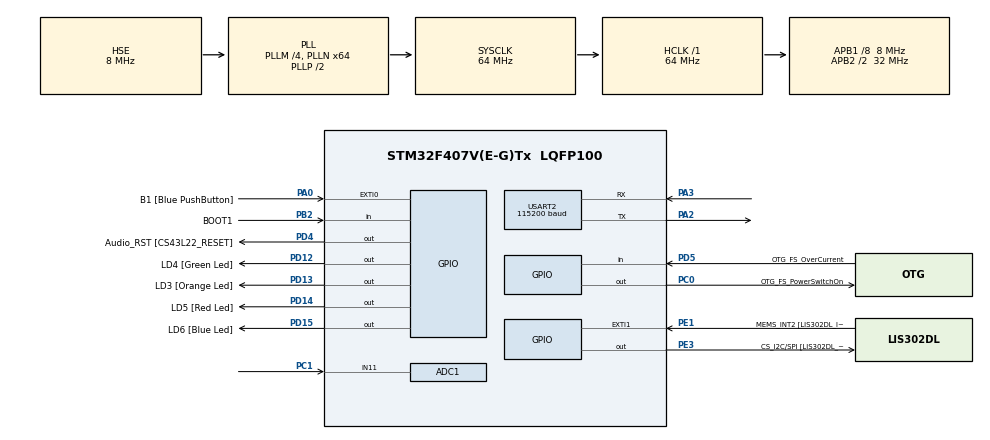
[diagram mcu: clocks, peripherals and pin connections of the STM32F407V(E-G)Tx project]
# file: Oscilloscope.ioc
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ADC1.Channel-0\#ChannelRegularConversion=ADC_CHANNEL_11
ADC1.ExternalTrigConv=ADC_EXTERNALTRIGCONV_T2_TRGO
ADC1.NbrOfConversionFlag=1
ADC1.Rank-0\#ChannelRegularConversion=1
ADC1.Resolution=ADC_RESOLUTION_8B
ADC1.SamplingTime-0\#ChannelRegularConversion=ADC_SAMPLETIME_28CYCLES
ADC1.master=1
Mcu.Family=STM32F4
Mcu.Name=STM32F407V(E-G)Tx
Mcu.Package=LQFP100
NVIC.ADC_IRQn=true\:0\:1\:false\:true\:true\:1\:true\:true
NVIC.PriorityGroup=NVIC_PRIORITYGROUP_2
NVIC.USART2_IRQn=true\:0\:0\:false\:true\:true\:2\:true\:true
PA0-WKUP.GPIO_Label=B1 [Blue PushButton]
PA0-WKUP.GPIO_ModeDefaultEXTI=GPIO_MODE_EVT_RISING
PA0-WKUP.GPIO_PuPd=GPIO_NOPULL
PA0-WKUP.Signal=GPXTI0
PA10.GPIO_Label=OTG_FS_ID
PA10.GPIO_Mode=GPIO_MODE_AF_PP
PA10.GPIO_PuPd=GPIO_NOPULL
PA10.GPIO_Speed=GPIO_SPEED_FREQ_LOW
PA10.Signal=USB_OTG_FS_ID
PA11.GPIO_Label=OTG_FS_DM
PA11.GPIO_Mode=GPIO_MODE_AF_PP
PA11.GPIO_PuPd=GPIO_NOPULL
PA11.GPIO_Speed=GPIO_SPEED_FREQ_LOW
PA11.Signal=USB_OTG_FS_DM
PA12.GPIO_Label=OTG_FS_DP
PA12.GPIO_Mode=GPIO_MODE_AF_PP
PA12.GPIO_PuPd=GPIO_NOPULL
PA12.GPIO_Speed=GPIO_SPEED_FREQ_LOW
PA12.Signal=USB_OTG_FS_DP
PA13.GPIO_Label=SWDIO
PA13.Mode=Serial_Wire
PA13.Signal=SYS_JTMS-SWDIO
PA14.GPIO_Label=SWCLK
PA14.Mode=Serial_Wire
PA14.Signal=SYS_JTCK-SWCLK
PA2.Mode=Asynchronous
PA2.Signal=USART2_TX
PA3.Mode=Asynchronous
PA3.Signal=USART2_RX
PA4.GPIO_Label=I2S3_WS [CS43L22_LRCK]
PA4.GPIO_Mode=GPIO_MODE_AF_PP
PA4.GPIO_PuPd=GPIO_NOPULL
PA4.GPIO_Speed=GPIO_SPEED_FREQ_LOW
PA4.Signal=I2S3_WS
PA5.GPIO_Label=SPI1_SCK [LIS302DL_SCL/SPC]
PA5.GPIO_Mode=GPIO_MODE_AF_PP
PA5.GPIO_PuPd=GPIO_NOPULL
PA5.GPIO_Speed=GPIO_SPEED_FREQ_LOW
PA5.Signal=SPI1_SCK
PA6.GPIO_Label=SPI1_MISO [LIS302DL_SDO]
PA6.GPIO_Mode=GPIO_MODE_AF_PP
PA6.GPIO_PuPd=GPIO_NOPULL
PA6.GPIO_Speed=GPIO_SPEED_FREQ_LOW
PA6.Signal=SPI1_MISO
PA7.GPIO_Label=SPI1_MOSI [LIS302DL_SDA/SDI/SDO]
PA7.GPIO_Mode=GPIO_MODE_AF_PP
PA7.GPIO_PuPd=GPIO_NOPULL
PA7.GPIO_Speed=GPIO_SPEED_FREQ_LOW
PA7.Signal=SPI1_MOSI
PA9.GPIO_Label=VBUS_FS
PA9.GPIO_Mode=GPIO_MODE_INPUT
PA9.GPIO_PuPd=GPIO_NOPULL
PA9.Signal=USB_OTG_FS_VBUS
PB10.GPIO_Label=CLK_IN [MP45DT02_CLK]
PB10.GPIO_Mode=GPIO_MODE_AF_PP
PB10.GPIO_PuPd=GPIO_NOPULL
PB10.GPIO_Speed=GPIO_SPEED_FREQ_LOW
PB10.Signal=I2S2_CK
PB2.GPIO_Label=BOOT1
PB2.GPIO_Mode=GPIO_MODE_INPUT
PB2.GPIO_PuPd=GPIO_NOPULL
PB2.Signal=GPIO_Input
PB3.GPIO_Label=SWO
PB3.Signal=SYS_JTDO-SWO
PB6.GPIO_Label=Audio_SCL [CS43L22_SCL]
PB6.GPIO_Mode=GPIO_MODE_AF_OD
PB6.GPIO_PuPd=GPIO_NOPULL
PB6.GPIO_Speed=GPIO_SPEED_FREQ_LOW
PB6.Signal=I2C1_SCL
PB9.GPIO_Label=Audio_SDA [CS43L22_SDA]
PB9.GPIO_Mode=GPIO_MODE_AF_OD
PB9.GPIO_PuPd=GPIO_NOPULL
PB9.GPIO_Speed=GPIO_SPEED_FREQ_LOW
PB9.Signal=I2C1_SDA
PC0.GPIO_Label=OTG_FS_PowerSwitchOn
PC0.GPIO_PuPd=GPIO_NOPULL
PC0.GPIO_Speed=GPIO_SPEED_FREQ_LOW
PC0.PinState=GPIO_PIN_SET
PC0.Signal=GPIO_Output
PC1.Signal=ADCx_IN11
PC10.GPIO_Label=I2S3_SCK [CS43L22_SCLK]
PC10.GPIO_Mode=GPIO_MODE_AF_PP
PC10.GPIO_PuPd=GPIO_NOPULL
PC10.GPIO_Speed=GPIO_SPEED_FREQ_LOW
PC10.Signal=I2S3_CK
PC12.GPIO_Label=I2S3_SD [CS43L22_SDIN]
PC12.GPIO_Mode=GPIO_MODE_AF_PP
PC12.GPIO_PuPd=GPIO_NOPULL
PC12.GPIO_Speed=GPIO_SPEED_FREQ_LOW
PC12.Signal=I2S3_SD
PC14-OSC32_IN.GPIO_Label=PC14-OSC32_IN
PC14-OSC32_IN.Mode=LSE-External-Oscillator
PC14-OSC32_IN.Signal=RCC_OSC32_IN
PC15-OSC32_OUT.GPIO_Label=PC15-OSC32_OUT
PC15-OSC32_OUT.Mode=LSE-External-Oscillator
PC15-OSC32_OUT.Signal=RCC_OSC32_OUT
PC3.GPIO_Label=PDM_OUT [MP45DT02_DOUT]
PC3.GPIO_Mode=GPIO_MODE_AF_PP
PC3.GPIO_PuPd=GPIO_NOPULL
PC3.GPIO_Speed=GPIO_SPEED_FREQ_LOW
PC3.Signal=I2S2_SD
PC7.GPIO_Label=I2S3_MCK [CS43L22_MCLK]
PC7.GPIO_Mode=GPIO_MODE_AF_PP
PC7.GPIO_PuPd=GPIO_NOPULL
PC7.GPIO_Speed=GPIO_SPEED_FREQ_LOW
PC7.Signal=I2S3_MCK
PD12.GPIO_Label=LD4 [Green Led]
PD12.GPIO_PuPd=GPIO_NOPULL
PD12.GPIO_Speed=GPIO_SPEED_FREQ_LOW
PD12.Signal=GPIO_Output
PD13.GPIO_Label=LD3 [Orange Led]
PD13.GPIO_PuPd=GPIO_NOPULL
PD13.GPIO_Speed=GPIO_SPEED_FREQ_LOW
PD13.Signal=GPIO_Output
PD14.GPIO_Label=LD5 [Red Led]
PD14.GPIO_PuPd=GPIO_NOPULL
PD14.GPIO_Speed=GPIO_SPEED_FREQ_LOW
PD14.Signal=GPIO_Output
PD15.GPIO_Label=LD6 [Blue Led]
PD15.GPIO_PuPd=GPIO_NOPULL
PD15.GPIO_Speed=GPIO_SPEED_FREQ_LOW
PD15.Signal=GPIO_Output
PD4.GPIO_Label=Audio_RST [CS43L22_RESET]
PD4.GPIO_PuPd=GPIO_NOPULL
PD4.GPIO_Speed=GPIO_SPEED_FREQ_LOW
PD4.Signal=GPIO_Output
PD5.GPIO_Label=OTG_FS_OverCurrent
PD5.GPIO_Mode=GPIO_MODE_INPUT
PD5.GPIO_PuPd=GPIO_NOPULL
PD5.Signal=GPIO_Input
PE1.GPIO_Label=MEMS_INT2 [LIS302DL_INT2]
PE1.GPIO_ModeDefaultEXTI=GPIO_MODE_EVT_RISING
PE1.GPIO_PuPd=GPIO_NOPULL
PE1.Signal=GPXTI1
PE3.GPIO_Label=CS_I2C/SPI [LIS302DL_CS_I2C/SPI]
PE3.GPIO_PuPd=GPIO_NOPULL
PE3.GPIO_Speed=GPIO_SPEED_FREQ_LOW
PE3.Signal=GPIO_Output
PH0-OSC_IN.GPIO_Label=PH0-OSC_IN
PH0-OSC_IN.Mode=HSE-External-Oscillator
PH0-OSC_IN.Signal=RCC_OSC_IN
PH1-OSC_OUT.GPIO_Label=PH1-OSC_OUT
PH1-OSC_OUT.Mode=HSE-External-Oscillator
PH1-OSC_OUT.Signal=RCC_OSC_OUT
ProjectManager.HeapSize=0x200
ProjectManager.StackSize=0x400
ProjectManager.TargetToolchain=SW4STM32
RCC.48MHZClocksFreq_Value=18285714.285714287
RCC.AHBFreq_Value=64000000
RCC.APB1CLKDivider=RCC_HCLK_DIV8
RCC.APB1Freq_Value=8000000
RCC.APB1TimFreq_Value=16000000
RCC.APB2CLKDivider=RCC_HCLK_DIV2
RCC.APB2Freq_Value=32000000
RCC.APB2TimFreq_Value=64000000
RCC.CortexFreq_Value=64000000
RCC.HCLKFreq_Value=64000000
RCC.HSE_VALUE=8000000
RCC.HSI_VALUE=16000000
RCC.PLLM=4
RCC.PLLN=64
RCC.PLLQ=7
RCC.PLLSourceVirtual=RCC_PLLSOURCE_HSE
RCC.SYSCLKFreq_VALUE=64000000
RCC.SYSCLKSource=RCC_SYSCLKSOURCE_PLLCLK
RCC.VCOOutputFreq_Value=128000000
SH.ADCx_IN11.0=ADC1_IN11,IN11
TIM2.Period=10
TIM2.Prescaler=16
TIM2.TIM_MasterOutputTrigger=TIM_TRGO_UPDATE
USART2.BaudRate=115200
USART2.VirtualMode=VM_ASYNC
VP_TIM2_VS_ClockSourceINT.Mode=Internal
board=STM32F4DISCOVERY

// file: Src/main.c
/* USER CODE BEGIN Header */
/**
 ******************************************************************************
 * @file           : main.c
 * @brief          : Main program body
 ******************************************************************************
 ** This notice applies to any and all portions of this file
 * that are not between comment pairs USER CODE BEGIN and
 * USER CODE END. Other portions of this file, whether
 * inserted by the user or by software development tools
 * are owned by their respective copyright owners.
 *
 * COPYRIGHT(c) 2019 STMicroelectronics
 *
 * Redistribution and use in source and binary forms, with or without modification,
 * are permitted provided that the following conditions are met:
 *   1. Redistributions of source code must retain the above copyright notice,
 *      this list of conditions and the following disclaimer.
 *   2. Redistributions in binary form must reproduce the above copyright notice,
 *      this list of conditions and the following disclaimer in the documentation
 *      and/or other materials provided with the distribution.
 *   3. Neither the name of STMicroelectronics nor the names of its contributors
 *      may be used to endorse or promote products derived from this software
 *      without specific prior written permission.
 *
 * THIS SOFTWARE IS PROVIDED BY THE COPYRIGHT HOLDERS AND CONTRIBUTORS "AS IS"
 * AND ANY EXPRESS OR IMPLIED WARRANTIES, INCLUDING, BUT NOT LIMITED TO, THE
 * IMPLIED WARRANTIES OF MERCHANTABILITY AND FITNESS FOR A PARTICULAR PURPOSE ARE
 * DISCLAIMED. IN NO EVENT SHALL THE COPYRIGHT HOLDER OR CONTRIBUTORS BE LIABLE
 * FOR ANY DIRECT, INDIRECT, INCIDENTAL, SPECIAL, EXEMPLARY, OR CONSEQUENTIAL
 * DAMAGES (INCLUDING, BUT NOT LIMITED TO, PROCUREMENT OF SUBSTITUTE GOODS OR
 * SERVICES; LOSS OF USE, DATA, OR PROFITS; OR BUSINESS INTERRUPTION) HOWEVER
 * CAUSED AND ON ANY THEORY OF LIABILITY, WHETHER IN CONTRACT, STRICT LIABILITY,
 * OR TORT (INCLUDING NEGLIGENCE OR OTHERWISE) ARISING IN ANY WAY OUT OF THE USE
 * OF THIS SOFTWARE, EVEN IF ADVISED OF THE POSSIBILITY OF SUCH DAMAGE.
 *
 ******************************************************************************
 */
/* USER CODE END Header */

#include "main.h"

/* USER CODE BEGIN Includes */
#include "stm32f4xx_hal_tim.h"
/* USER CODE END Includes */

ADC_HandleTypeDef hadc1;

TIM_HandleTypeDef htim2;

UART_HandleTypeDef huart2;

void SystemClock_Config(void);
static void MX_GPIO_Init(void);
static void MX_USART2_UART_Init(void);
static void MX_ADC1_Init(void);
static void MX_TIM2_Init(void);
static void MX_NVIC_Init(void);

/* USER CODE BEGIN 0 */
static uint8_t Data;
/* USER CODE END 0 */

int main(void)
{

	/* MCU Configuration--------------------------------------------------------*/

	/* Reset of all peripherals, Initializes the Flash interface and the Systick. */
	HAL_Init();

	/* Configure the system clock */
	SystemClock_Config();

	/* Initialize all configured peripherals */
	MX_GPIO_Init();
	MX_USART2_UART_Init();
	MX_ADC1_Init();
	MX_TIM2_Init();

	/* Initialize interrupts */
	MX_NVIC_Init();
	/* USER CODE BEGIN 2 */
	HAL_UART_Receive_IT(&huart2,&Data,sizeof(Data));
	HAL_ADC_Start_IT(&hadc1);
	HAL_TIM_Base_Start(&htim2);
	/* USER CODE END 2 */

	/* Infinite loop */
	while (1)
	{

	}
}

void SystemClock_Config(void)
{
	RCC_OscInitTypeDef RCC_OscInitStruct = {0};
	RCC_ClkInitTypeDef RCC_ClkInitStruct = {0};

	/** Configure the main internal regulator output voltage
	 */
	__HAL_RCC_PWR_CLK_ENABLE();
	__HAL_PWR_VOLTAGESCALING_CONFIG(PWR_REGULATOR_VOLTAGE_SCALE1);
	/** Initializes the CPU, AHB and APB busses clocks
	 */
	RCC_OscInitStruct.OscillatorType = RCC_OSCILLATORTYPE_HSE;
	RCC_OscInitStruct.HSEState = RCC_HSE_ON;
	RCC_OscInitStruct.PLL.PLLState = RCC_PLL_ON;
	RCC_OscInitStruct.PLL.PLLSource = RCC_PLLSOURCE_HSE;
	RCC_OscInitStruct.PLL.PLLM = 4;
	RCC_OscInitStruct.PLL.PLLN = 64;
	RCC_OscInitStruct.PLL.PLLP = RCC_PLLP_DIV2;
	RCC_OscInitStruct.PLL.PLLQ = 7;
	if (HAL_RCC_OscConfig(&RCC_OscInitStruct) != HAL_OK)
	{
		Error_Handler();
	}
	/** Initializes the CPU, AHB and APB busses clocks
	 */
	RCC_ClkInitStruct.ClockType = RCC_CLOCKTYPE_HCLK|RCC_CLOCKTYPE_SYSCLK
			|RCC_CLOCKTYPE_PCLK1|RCC_CLOCKTYPE_PCLK2;
	RCC_ClkInitStruct.SYSCLKSource = RCC_SYSCLKSOURCE_PLLCLK;
	RCC_ClkInitStruct.AHBCLKDivider = RCC_SYSCLK_DIV1;
	RCC_ClkInitStruct.APB1CLKDivider = RCC_HCLK_DIV8;
	RCC_ClkInitStruct.APB2CLKDivider = RCC_HCLK_DIV2;

	if (HAL_RCC_ClockConfig(&RCC_ClkInitStruct, FLASH_LATENCY_2) != HAL_OK)
	{
		Error_Handler();
	}
}

/**
 * @brief NVIC Configuration.
 * @retval None
 */
static void MX_NVIC_Init(void)
{
	/* ADC_IRQn interrupt configuration */
	HAL_NVIC_SetPriority(ADC_IRQn, 0, 1);
	HAL_NVIC_EnableIRQ(ADC_IRQn);
	/* USART2_IRQn interrupt configuration */
	HAL_NVIC_SetPriority(USART2_IRQn, 0, 0);
	HAL_NVIC_EnableIRQ(USART2_IRQn);
}

static void MX_ADC1_Init(void)
{

	ADC_ChannelConfTypeDef sConfig = {0};

	/** Configure the global features of the ADC (Clock, Resolution, Data Alignment and number of conversion)
	 */
	hadc1.Instance = ADC1;
	hadc1.Init.ClockPrescaler = ADC_CLOCK_SYNC_PCLK_DIV2;
	hadc1.Init.Resolution = ADC_RESOLUTION_8B;
	hadc1.Init.ScanConvMode = DISABLE;
	hadc1.Init.ContinuousConvMode = DISABLE;
	hadc1.Init.DiscontinuousConvMode = DISABLE;
	hadc1.Init.ExternalTrigConvEdge = ADC_EXTERNALTRIGCONVEDGE_RISING;
	hadc1.Init.ExternalTrigConv = ADC_EXTERNALTRIGCONV_T2_TRGO;
	hadc1.Init.DataAlign = ADC_DATAALIGN_RIGHT;
	hadc1.Init.NbrOfConversion = 1;
	hadc1.Init.DMAContinuousRequests = DISABLE;
	hadc1.Init.EOCSelection = ADC_EOC_SINGLE_CONV;
	if (HAL_ADC_Init(&hadc1) != HAL_OK)
	{
		Error_Handler();
	}
	/** Configure for the selected ADC regular channel its corresponding rank in the sequencer and its sample time.
	 */
	sConfig.Channel = ADC_CHANNEL_11;
	sConfig.Rank = 1;
	sConfig.SamplingTime = ADC_SAMPLETIME_28CYCLES;
	if (HAL_ADC_ConfigChannel(&hadc1, &sConfig) != HAL_OK)
	{
		Error_Handler();
	}

}

static void MX_TIM2_Init(void)
{

	TIM_ClockConfigTypeDef sClockSourceConfig = {0};
	TIM_MasterConfigTypeDef sMasterConfig = {0};

	htim2.Instance = TIM2;
	htim2.Init.Prescaler = 1600;
	htim2.Init.CounterMode = TIM_COUNTERMODE_UP;
	htim2.Init.Period = 100;
	htim2.Init.ClockDivision = TIM_CLOCKDIVISION_DIV1;
	htim2.Init.AutoReloadPreload = TIM_AUTORELOAD_PRELOAD_DISABLE;
	if (HAL_TIM_Base_Init(&htim2) != HAL_OK)
	{
		Error_Handler();
	}
	sClockSourceConfig.ClockSource = TIM_CLOCKSOURCE_INTERNAL;
	if (HAL_TIM_ConfigClockSource(&htim2, &sClockSourceConfig) != HAL_OK)
	{
		Error_Handler();
	}
	sMasterConfig.MasterOutputTrigger = TIM_TRGO_UPDATE;
	sMasterConfig.MasterSlaveMode = TIM_MASTERSLAVEMODE_DISABLE;
	if (HAL_TIMEx_MasterConfigSynchronization(&htim2, &sMasterConfig) != HAL_OK)
	{
		Error_Handler();
	}

}

static void MX_USART2_UART_Init(void)
{

	huart2.Instance = USART2;
	huart2.Init.BaudRate = 115200;
	huart2.Init.WordLength = UART_WORDLENGTH_8B;
	huart2.Init.StopBits = UART_STOPBITS_1;
	huart2.Init.Parity = UART_PARITY_NONE;
	huart2.Init.Mode = UART_MODE_TX_RX;
	huart2.Init.HwFlowCtl = UART_HWCONTROL_NONE;
	huart2.Init.OverSampling = UART_OVERSAMPLING_16;
	if (HAL_UART_Init(&huart2) != HAL_OK)
	{
		Error_Handler();
	}

}

static void MX_GPIO_Init(void)
{
	GPIO_InitTypeDef GPIO_InitStruct = {0};

	/* GPIO Ports Clock Enable */
	__HAL_RCC_GPIOE_CLK_ENABLE();
	__HAL_RCC_GPIOC_CLK_ENABLE();
	__HAL_RCC_GPIOH_CLK_ENABLE();
	__HAL_RCC_GPIOA_CLK_ENABLE();
	__HAL_RCC_GPIOB_CLK_ENABLE();
	__HAL_RCC_GPIOD_CLK_ENABLE();

	/*Configure GPIO pin Output Level */
	HAL_GPIO_WritePin(CS_I2C_SPI_GPIO_Port, CS_I2C_SPI_Pin, GPIO_PIN_RESET);

	/*Configure GPIO pin Output Level */
	HAL_GPIO_WritePin(OTG_FS_PowerSwitchOn_GPIO_Port, OTG_FS_PowerSwitchOn_Pin, GPIO_PIN_SET);

	/*Configure GPIO pin Output Level */
	HAL_GPIO_WritePin(GPIOD, LD4_Pin|LD3_Pin|LD5_Pin|LD6_Pin
			|Audio_RST_Pin, GPIO_PIN_RESET);

	/*Configure GPIO pin : CS_I2C_SPI_Pin */
	GPIO_InitStruct.Pin = CS_I2C_SPI_Pin;
	GPIO_InitStruct.Mode = GPIO_MODE_OUTPUT_PP;
	GPIO_InitStruct.Pull = GPIO_NOPULL;
	GPIO_InitStruct.Speed = GPIO_SPEED_FREQ_LOW;
	HAL_GPIO_Init(CS_I2C_SPI_GPIO_Port, &GPIO_InitStruct);

	/*Configure GPIO pin : OTG_FS_PowerSwitchOn_Pin */
	GPIO_InitStruct.Pin = OTG_FS_PowerSwitchOn_Pin;
	GPIO_InitStruct.Mode = GPIO_MODE_OUTPUT_PP;
	GPIO_InitStruct.Pull = GPIO_NOPULL;
	GPIO_InitStruct.Speed = GPIO_SPEED_FREQ_LOW;
	HAL_GPIO_Init(OTG_FS_PowerSwitchOn_GPIO_Port, &GPIO_InitStruct);

	/*Configure GPIO pin : PDM_OUT_Pin */
	GPIO_InitStruct.Pin = PDM_OUT_Pin;
	GPIO_InitStruct.Mode = GPIO_MODE_AF_PP;
	GPIO_InitStruct.Pull = GPIO_NOPULL;
	GPIO_InitStruct.Speed = GPIO_SPEED_FREQ_LOW;
	GPIO_InitStruct.Alternate = GPIO_AF5_SPI2;
	HAL_GPIO_Init(PDM_OUT_GPIO_Port, &GPIO_InitStruct);

	/*Configure GPIO pin : B1_Pin */
	GPIO_InitStruct.Pin = B1_Pin;
	GPIO_InitStruct.Mode = GPIO_MODE_EVT_RISING;
	GPIO_InitStruct.Pull = GPIO_NOPULL;
	HAL_GPIO_Init(B1_GPIO_Port, &GPIO_InitStruct);

	/*Configure GPIO pin : I2S3_WS_Pin */
	GPIO_InitStruct.Pin = I2S3_WS_Pin;
	GPIO_InitStruct.Mode = GPIO_MODE_AF_PP;
	GPIO_InitStruct.Pull = GPIO_NOPULL;
	GPIO_InitStruct.Speed = GPIO_SPEED_FREQ_LOW;
	GPIO_InitStruct.Alternate = GPIO_AF6_SPI3;
	HAL_GPIO_Init(I2S3_WS_GPIO_Port, &GPIO_InitStruct);

	/*Configure GPIO pins : SPI1_SCK_Pin SPI1_MISO_Pin SPI1_MOSI_Pin */
	GPIO_InitStruct.Pin = SPI1_SCK_Pin|SPI1_MISO_Pin|SPI1_MOSI_Pin;
	GPIO_InitStruct.Mode = GPIO_MODE_AF_PP;
	GPIO_InitStruct.Pull = GPIO_NOPULL;
	GPIO_InitStruct.Speed = GPIO_SPEED_FREQ_LOW;
	GPIO_InitStruct.Alternate = GPIO_AF5_SPI1;
	HAL_GPIO_Init(GPIOA, &GPIO_InitStruct);

	/*Configure GPIO pin : BOOT1_Pin */
	GPIO_InitStruct.Pin = BOOT1_Pin;
	GPIO_InitStruct.Mode = GPIO_MODE_INPUT;
	GPIO_InitStruct.Pull = GPIO_NOPULL;
	HAL_GPIO_Init(BOOT1_GPIO_Port, &GPIO_InitStruct);

	/*Configure GPIO pin : CLK_IN_Pin */
	GPIO_InitStruct.Pin = CLK_IN_Pin;
	GPIO_InitStruct.Mode = GPIO_MODE_AF_PP;
	GPIO_InitStruct.Pull = GPIO_NOPULL;
	GPIO_InitStruct.Speed = GPIO_SPEED_FREQ_LOW;
	GPIO_InitStruct.Alternate = GPIO_AF5_SPI2;
	HAL_GPIO_Init(CLK_IN_GPIO_Port, &GPIO_InitStruct);

	/*Configure GPIO pins : LD4_Pin LD3_Pin LD5_Pin LD6_Pin
                           Audio_RST_Pin */
	GPIO_InitStruct.Pin = LD4_Pin|LD3_Pin|LD5_Pin|LD6_Pin
			|Audio_RST_Pin;
	GPIO_InitStruct.Mode = GPIO_MODE_OUTPUT_PP;
	GPIO_InitStruct.Pull = GPIO_NOPULL;
	GPIO_InitStruct.Speed = GPIO_SPEED_FREQ_LOW;
	HAL_GPIO_Init(GPIOD, &GPIO_InitStruct);

	/*Configure GPIO pins : I2S3_MCK_Pin I2S3_SCK_Pin I2S3_SD_Pin */
	GPIO_InitStruct.Pin = I2S3_MCK_Pin|I2S3_SCK_Pin|I2S3_SD_Pin;
	GPIO_InitStruct.Mode = GPIO_MODE_AF_PP;
	GPIO_InitStruct.Pull = GPIO_NOPULL;
	GPIO_InitStruct.Speed = GPIO_SPEED_FREQ_LOW;
	GPIO_InitStruct.Alternate = GPIO_AF6_SPI3;
	HAL_GPIO_Init(GPIOC, &GPIO_InitStruct);

	/*Configure GPIO pin : VBUS_FS_Pin */
	GPIO_InitStruct.Pin = VBUS_FS_Pin;
	GPIO_InitStruct.Mode = GPIO_MODE_INPUT;
	GPIO_InitStruct.Pull = GPIO_NOPULL;
	HAL_GPIO_Init(VBUS_FS_GPIO_Port, &GPIO_InitStruct);

	/*Configure GPIO pins : OTG_FS_ID_Pin OTG_FS_DM_Pin OTG_FS_DP_Pin */
	GPIO_InitStruct.Pin = OTG_FS_ID_Pin|OTG_FS_DM_Pin|OTG_FS_DP_Pin;
	GPIO_InitStruct.Mode = GPIO_MODE_AF_PP;
	GPIO_InitStruct.Pull = GPIO_NOPULL;
	GPIO_InitStruct.Speed = GPIO_SPEED_FREQ_LOW;
	GPIO_InitStruct.Alternate = GPIO_AF10_OTG_FS;
	HAL_GPIO_Init(GPIOA, &GPIO_InitStruct);

	/*Configure GPIO pin : OTG_FS_OverCurrent_Pin */
	GPIO_InitStruct.Pin = OTG_FS_OverCurrent_Pin;
	GPIO_InitStruct.Mode = GPIO_MODE_INPUT;
	GPIO_InitStruct.Pull = GPIO_NOPULL;
	HAL_GPIO_Init(OTG_FS_OverCurrent_GPIO_Port, &GPIO_InitStruct);

	/*Configure GPIO pins : Audio_SCL_Pin Audio_SDA_Pin */
	GPIO_InitStruct.Pin = Audio_SCL_Pin|Audio_SDA_Pin;
	GPIO_InitStruct.Mode = GPIO_MODE_AF_OD;
	GPIO_InitStruct.Pull = GPIO_PULLUP;
	GPIO_InitStruct.Speed = GPIO_SPEED_FREQ_LOW;
	GPIO_InitStruct.Alternate = GPIO_AF4_I2C1;
	HAL_GPIO_Init(GPIOB, &GPIO_InitStruct);

	/*Configure GPIO pin : MEMS_INT2_Pin */
	GPIO_InitStruct.Pin = MEMS_INT2_Pin;
	GPIO_InitStruct.Mode = GPIO_MODE_EVT_RISING;
	GPIO_InitStruct.Pull = GPIO_NOPULL;
	HAL_GPIO_Init(MEMS_INT2_GPIO_Port, &GPIO_InitStruct);

}

/* USER CODE BEGIN 4 */
void HAL_UART_RxCpltCallback(UART_HandleTypeDef *huart){
	switch (Data){
	case 0x30:
		HAL_GPIO_TogglePin(GPIOD,LD6_Pin);
		break;

	case 0x31 :
		HAL_GPIO_TogglePin(GPIOD,LD4_Pin);
		break;

	case 0x32 :
		HAL_GPIO_TogglePin(GPIOD,LD3_Pin);
		break;

	case 0x33 :
		HAL_GPIO_TogglePin(GPIOD,LD5_Pin);
		break;

	}
	HAL_UART_Receive_IT(&huart2,&Data,sizeof(Data));

}

void HAL_ADC_ConvCpltCallback(ADC_HandleTypeDef* hadc1){

	static uint8_t msg[3];
	msg[0]=0xAA;
	msg[2]=0x55;
	msg[1]= HAL_ADC_GetValue(hadc1);
	HAL_UART_Transmit(&huart2,msg,sizeof(msg),HAL_MAX_DELAY);
	HAL_ADC_Start_IT(hadc1);
}
/* USER CODE END 4 */

void Error_Handler(void)
{
}

/************************ (C) COPYRIGHT STMicroelectronics *****END OF FILE****/
